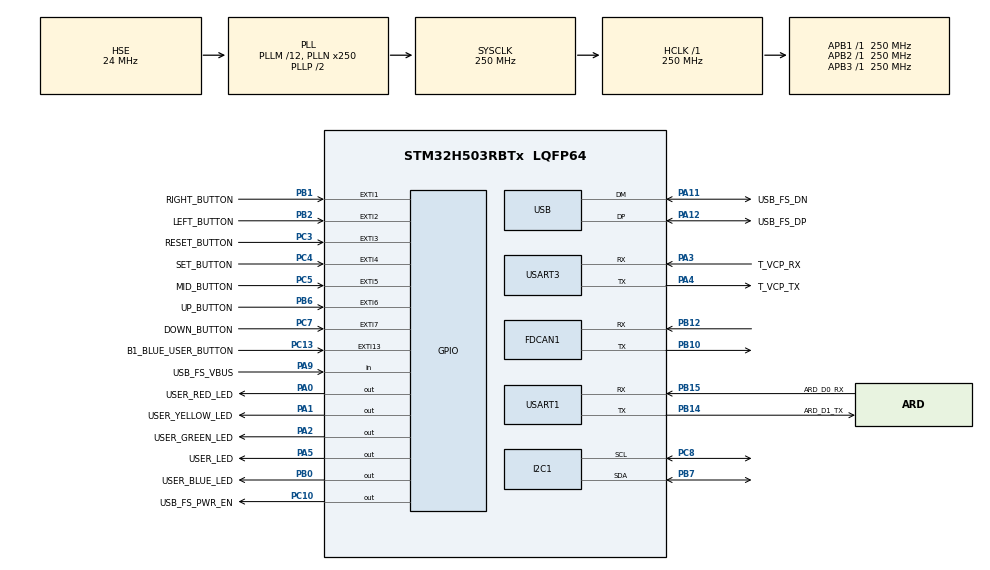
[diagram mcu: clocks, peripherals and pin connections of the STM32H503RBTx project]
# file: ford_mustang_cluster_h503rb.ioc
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BOOTPATH.BootPathName=LEGACY
BOOTPATH.UserSelectedBootPath=LEGACY
FDCAN1.CalculateBaudRateNominal=500000
FDCAN1.CalculateTimeBitNominal=2000
FDCAN1.CalculateTimeQuantumNominal=333.3333333333333
FDCAN1.ClockDivider=FDCAN_CLOCK_DIV1
FDCAN1.NominalPrescaler=8
FDCAN1.NominalTimeSeg1=3
FDCAN1.NominalTimeSeg2=2
FDCAN1.StdFiltersNbr=1
I2C1.Speed=100
I2C1.Timing=0x60808CD3
Mcu.Family=STM32H5
Mcu.Name=STM32H503RBTx
Mcu.Package=LQFP64
NVIC.EXTI13_IRQn=true\:0\:0\:false\:false\:true\:true\:true\:true
NVIC.EXTI1_IRQn=true\:0\:0\:false\:false\:true\:true\:true\:true
NVIC.EXTI2_IRQn=true\:0\:0\:false\:false\:true\:true\:true\:true
NVIC.EXTI3_IRQn=true\:0\:0\:false\:false\:true\:true\:true\:true
NVIC.EXTI4_IRQn=true\:0\:0\:false\:false\:true\:true\:true\:true
NVIC.EXTI5_IRQn=true\:0\:0\:false\:false\:true\:true\:true\:true
NVIC.EXTI6_IRQn=true\:0\:0\:false\:false\:true\:true\:true\:true
NVIC.EXTI7_IRQn=true\:0\:0\:false\:false\:true\:true\:true\:true
NVIC.FDCAN1_IT0_IRQn=true\:0\:0\:false\:false\:true\:true\:true\:true
NVIC.PriorityGroup=NVIC_PRIORITYGROUP_4
NVIC.RNG_IRQn=true\:0\:0\:false\:false\:true\:true\:true\:true
PA0.GPIO_Label=USER_RED_LED
PA0.Signal=GPIO_Output
PA1.GPIO_Label=USER_YELLOW_LED
PA1.Signal=GPIO_Output
PA11.GPIO_Label=USB_FS_DN
PA11.Mode=Device
PA11.Signal=USB_DM
PA12.GPIO_Label=USB_FS_DP
PA12.Mode=Device
PA12.Signal=USB_DP
PA13(JTMS/SWDIO).GPIO_Label=T_SWDIO
PA13(JTMS/SWDIO).Mode=JTAG_4_pins
PA13(JTMS/SWDIO).Signal=DEBUG_JTMS-SWDIO
PA14(JTCK/SWCLK).GPIO_Label=T_SWCLK
PA14(JTCK/SWCLK).Mode=JTAG_4_pins
PA14(JTCK/SWCLK).Signal=DEBUG_JTCK-SWCLK
PA15(JTDI).GPIO_Label=T_JTDI
PA15(JTDI).Mode=JTAG_4_pins
PA15(JTDI).Signal=DEBUG_JTDI
PA2.GPIO_Label=USER_GREEN_LED
PA2.Signal=GPIO_Output
PA3.GPIO_Label=T_VCP_RX
PA3.Mode=Asynchronous
PA3.Signal=USART3_RX
PA4.GPIO_Label=T_VCP_TX
PA4.Mode=Asynchronous
PA4.Signal=USART3_TX
PA5.GPIO_Label=USER_LED
PA5.Signal=GPIO_Output
PA9.GPIO_Label=USB_FS_VBUS
PA9.Signal=GPIO_Input
PB0.GPIO_Label=USER_BLUE_LED
PB0.Signal=GPIO_Output
PB1.GPIO_Label=RIGHT_BUTTON
PB1.GPIO_ModeDefaultEXTI=GPIO_MODE_IT_FALLING
PB1.GPIO_PuPd=GPIO_PULLUP
PB1.Signal=GPXTI1
PB10.Mode=FDCAN_Activate
PB10.Signal=FDCAN1_TX
PB12.Mode=FDCAN_Activate
PB12.Signal=FDCAN1_RX
PB14.GPIO_Label=ARD_D1_TX
PB14.Mode=Asynchronous
PB14.Signal=USART1_TX
PB15.GPIO_Label=ARD_D0_RX
PB15.Mode=Asynchronous
PB15.Signal=USART1_RX
PB2.GPIO_Label=LEFT_BUTTON
PB2.GPIO_ModeDefaultEXTI=GPIO_MODE_IT_FALLING
PB2.GPIO_PuPd=GPIO_PULLUP
PB2.Signal=GPXTI2
PB3(JTDO/TRACESWO).GPIO_Label=T_SWO
PB3(JTDO/TRACESWO).Mode=JTAG_4_pins
PB3(JTDO/TRACESWO).Signal=DEBUG_JTDO-SWO
PB6.GPIO_Label=UP_BUTTON
PB6.GPIO_ModeDefaultEXTI=GPIO_MODE_IT_FALLING
PB6.GPIO_PuPd=GPIO_PULLUP
PB6.Signal=GPXTI6
PB7.GPIO_Pu=GPIO_PULLUP
PB7.Mode=I2C
PB7.Signal=I2C1_SDA
PC10.GPIO_Label=USB_FS_PWR_EN
PC10.Signal=GPIO_Output
PC13.GPIO_Label=B1_BLUE_USER_BUTTON
PC13.Signal=GPXTI13
PC14-OSC32_IN(OSC32_IN).Mode=LSE-External-Oscillator
PC14-OSC32_IN(OSC32_IN).Signal=RCC_OSC32_IN
PC15-OSC32_OUT(OSC32_OUT).Mode=LSE-External-Oscillator
PC15-OSC32_OUT(OSC32_OUT).Signal=RCC_OSC32_OUT
PC3.GPIO_Label=RESET_BUTTON
PC3.GPIO_ModeDefaultEXTI=GPIO_MODE_IT_FALLING
PC3.GPIO_PuPd=GPIO_PULLUP
PC3.Signal=GPXTI3
PC4.GPIO_Label=SET_BUTTON
PC4.GPIO_ModeDefaultEXTI=GPIO_MODE_IT_FALLING
PC4.GPIO_PuPd=GPIO_PULLUP
PC4.Signal=GPXTI4
PC5.GPIO_Label=MID_BUTTON
PC5.GPIO_ModeDefaultEXTI=GPIO_MODE_IT_FALLING
PC5.GPIO_PuPd=GPIO_PULLUP
PC5.Signal=GPXTI5
PC7.GPIO_Label=DOWN_BUTTON
PC7.GPIO_ModeDefaultEXTI=GPIO_MODE_IT_FALLING
PC7.GPIO_PuPd=GPIO_PULLUP
PC7.Signal=GPXTI7
PC8.GPIO_Pu=GPIO_PULLUP
PC8.Mode=I2C
PC8.Signal=I2C1_SCL
PH0-OSC_IN(PH0).Mode=HSE-External-Oscillator
PH0-OSC_IN(PH0).Signal=RCC_OSC_IN
PH1-OSC_OUT(PH1).Mode=HSE-External-Oscillator
PH1-OSC_OUT(PH1).Signal=RCC_OSC_OUT
ProjectManager.HeapSize=0x200
ProjectManager.StackSize=0x400
ProjectManager.TargetToolchain=STM32CubeIDE
RCC.ADCFreq_Value=250000000
RCC.AHBFreq_Value=250000000
RCC.APB1Freq_Value=250000000
RCC.APB1TimFreq_Value=250000000
RCC.APB2Freq_Value=250000000
RCC.APB2TimFreq_Value=250000000
RCC.APB3Freq_Value=250000000
RCC.CSI_VALUE=4000000
RCC.CortexFreq_Value=250000000
RCC.EPOD_VALUE=24000000
RCC.HCLKFreq_Value=250000000
RCC.HSE_VALUE=24000000
RCC.HSI48_VALUE=48000000
RCC.HSIDiv=RCC_HSI_DIV1
RCC.HSI_VALUE=64000000
RCC.LSIRC_VALUE=32000
RCC.PLLM=12
RCC.PLLN=250
RCC.PLLSourceVirtual=RCC_PLL1_SOURCE_HSE
RCC.SYSCLKFreq_VALUE=250000000
RCC.SYSCLKSource=RCC_SYSCLKSOURCE_PLLCLK
RCC.USBFreq_Value=48000000
RCC.VCOOutputFreq_Value=500000000
USART1.VirtualMode=VM_ASYNC
USART1.VirtualMode-Asynchronous=VM_ASYNC
USART3.VirtualMode=VM_ASYNC
USART3.VirtualMode-Asynchronous=VM_ASYNC
USB.VirtualMode=Device_Only
VP_BOOTPATH_VS_BOOTPATH.Mode=BP_Activate
VP_ICACHE_VS_ICACHE.Mode=DefaultMode
VP_MEMORYMAP_VS_MEMORYMAP.Mode=CurAppReg
VP_PWR_VS_DBSignals.Mode=DisableDeadBatterySignals
VP_PWR_VS_LPOM.Mode=PowerOptimisation
VP_PWR_VS_SECSignals.Mode=Security/Privilege
VP_RNG_VS_RNG.Mode=RNG_Activate
board=NUCLEO-H503RB

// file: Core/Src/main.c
/* USER CODE BEGIN Header */
/**
 ******************************************************************************
 * @file           : main.c
 * @brief          : Main program body
 ******************************************************************************
 * @attention
 *
 * Copyright (c) 2024 STMicroelectronics.
 * All rights reserved.
 *
 * This software is licensed under terms that can be found in the LICENSE file
 * in the root directory of this software component.
 * If no LICENSE file comes with this software, it is provided AS-IS.
 *
 ******************************************************************************
 */
/* USER CODE END Header */
#include "main.h"
#include "fdcan.h"
#include "i2c.h"
#include "icache.h"
#include "memorymap.h"
#include "rng.h"
#include "usart.h"
#include "usb.h"
#include "gpio.h"

/* USER CODE BEGIN Includes */

#include <stdio.h>
#include <stdlib.h>
#include <string.h>
#include "mustang.h"
#include "ssd1306.h"

/* USER CODE END Includes */

/* USER CODE BEGIN PTD */
typedef union
{
	uint32_t uint32;
	uint8_t uint8[4];
} uint32to8_t;
/* USER CODE END PTD */

/* USER CODE BEGIN PD */
#define CAN_MSG_REPEAT_PERIOD 100
#define CAN_MSG_TIME_INTERVAL 5
#define RANDOM_MSG_TIME_INTERVAL 1000
#define ENGINE_SPEED_MAX 8000 // rpm
#define ENGINE_SPEED_INCREMENT 370
#define ENGINE_SPEED_DECREMENT 680
#define VEHICLE_SPEED_MAX 160 // mph
#define VEHICLE_SPEED_INCREMENT 1
#define ENGINE_SPEED_GEAR_SHIFT 3000 // rpm
#define COOLANT_TEMPERATURE 90 // degC
#define OIL_TEMPERATURE 110 // degC
#define TRANS_OIL_TEMP_INIT 10 // degC
#define TRANS_OIL_TEMP_FINAL 140 // degC

#define DELAYED_START_INTERVAL 4000
#define TOGGLE_TIME_INTERVAL 1000

#define ACCELEROMETER_TIME_INTERVAL 20

#define SEND_ALL_POSSIBLE_IDS 0
#define PATTERN_TO_BE_SEND  0x55 // 0b00011000 // 0xAA or 0x55
#define STOP_MSG_SCANNING
#define STOP_RANDOM_MSG

#define BYTE_TO_BINARY_PATTERN "0b%c%c%c%c%c%c%c%c"
#define BYTE_TO_BINARY(byte)  \
  ((byte) & 0x80 ? '1' : '0'), \
  ((byte) & 0x40 ? '1' : '0'), \
  ((byte) & 0x20 ? '1' : '0'), \
  ((byte) & 0x10 ? '1' : '0'), \
  ((byte) & 0x08 ? '1' : '0'), \
  ((byte) & 0x04 ? '1' : '0'), \
  ((byte) & 0x02 ? '1' : '0'), \
  ((byte) & 0x01 ? '1' : '0')

/* USER CODE END PD */

/* USER CODE BEGIN PV */
FDCAN_RxHeaderTypeDef RxHeader;
uint8_t RxData[8];

FDCAN_TxHeaderTypeDef TxHeader;
uint8_t TxData8[8];
uint8_t TxData8Random[8];
uint8_t Random8Bytes[8];
uint8_t TxData7[7];
uint8_t TxData6[6];
uint8_t TxData5[5];
uint32_t TxMailbox;

uint16_t vehicle_speed = 0;
double vehicle_acceleration_y;
double vehicle_accel_x;
double vehicle_accel_y;
uint16_t engine_speed = 0;
uint8_t trans_oil_temp = TRANS_OIL_TEMP_INIT;
uint8_t gear_number;
volatile uint8_t christmas_lights = 1;

uint8_t engine_speed_down;

uint32_t CanMsgSoftTimer;
uint32_t RandomMsgSoftTimer;
uint32_t DelayedStartSoftTimer;
uint32_t ToggleSoftTimer;
uint32_t OdometerSoftTimer;
uint32_t OledSoftTimer;
uint32_t AccelerometerSoftTimer;

volatile uint8_t rng_number_flag = 0;
uint8_t rng_number_count = 0;
uint8_t rng_message_flag = 0;
uint32_t rng_number;

uint8_t toggle_variable = 0;
uint8_t flip_me_variable = 0xAA;  // odometer

volatile uint8_t up_button_flag = 0;
volatile uint8_t down_button_flag = 0;
volatile uint8_t left_button_flag = 0;
volatile uint8_t right_button_flag = 0;
volatile uint8_t mid_button_flag = 0;
volatile uint8_t set_button_flag = 0;
volatile uint8_t reset_button_flag = 0;

uint32to8_t uint32to8_converter;

uint8_t uart_message[128];
uint16_t message_size;

uint16_t msg_id = 0;

char lcd_line[128];

/* USER CODE END PV */

void SystemClock_Config(void);
/* USER CODE BEGIN PFP */
void PrintCanFrame0bToUart(void);
void PrintCanFrame0xToUart(void);
void PrintJustSentCanFrame0xToUart(void);
void CalculateRpmSpeed(void);
void CalculateTransOilTemp(void);
void MarkCanFrame(void);
void ComposeRandomMessage(void);
void EmulateIncreasingMileage(void);
void DisplayUnits(void);
/* USER CODE END PFP */

int main(void)
{

	/* MCU Configuration--------------------------------------------------------*/

	/* Reset of all peripherals, Initializes the Flash interface and the Systick. */
	HAL_Init();

	/* Configure the system clock */
	SystemClock_Config();

	/* Initialize all configured peripherals */
	MX_GPIO_Init();
	MX_ICACHE_Init();
	MX_USART1_UART_Init();
	MX_USART3_UART_Init();
	MX_USB_PCD_Init();
	MX_FDCAN1_Init();
	MX_RNG_Init();
	MX_I2C1_Init();
	/* USER CODE BEGIN 2 */

	ssd1306_Init();
	ssd1306_Fill(Black);
	ssd1306_SetCursor(20, 0);
	ssd1306_WriteString("ufnalski.edu.pl", Font_6x8, White);
	ssd1306_SetCursor(14, 12);
	ssd1306_WriteString("Ford Mustang 2016", Font_6x8, White);
	ssd1306_SetCursor(20, 24);
	ssd1306_WriteString("IPC CAN hacking", Font_6x8, White);
	ssd1306_UpdateScreen();

	HAL_RNG_GenerateRandomNumber_IT(&hrng);

	HAL_FDCAN_ConfigGlobalFilter(&hfdcan1, FDCAN_REJECT, FDCAN_REJECT,
	FDCAN_REJECT_REMOTE, FDCAN_REJECT_REMOTE);

	if (HAL_FDCAN_Start(&hfdcan1) != HAL_OK)
	{
		Error_Handler();
	}

	if (HAL_FDCAN_ActivateNotification(&hfdcan1, FDCAN_IT_RX_FIFO0_NEW_MESSAGE,
			0) != HAL_OK)
	{
		/* Notification Error */
		Error_Handler();
	}

	TxHeader.IdType = FDCAN_STANDARD_ID;
	TxHeader.TxFrameType = FDCAN_DATA_FRAME;
	TxHeader.ErrorStateIndicator = FDCAN_ESI_ACTIVE;
	TxHeader.BitRateSwitch = FDCAN_BRS_ON;
	TxHeader.FDFormat = FDCAN_FD_CAN;
	TxHeader.TxEventFifoControl = FDCAN_NO_TX_EVENTS;
	TxHeader.MessageMarker = 0;

	CanMsgSoftTimer = HAL_GetTick();
	RandomMsgSoftTimer = HAL_GetTick();
	DelayedStartSoftTimer = HAL_GetTick();
	ToggleSoftTimer = HAL_GetTick();
	OdometerSoftTimer = HAL_GetTick();
	OledSoftTimer = HAL_GetTick();
	AccelerometerSoftTimer = HAL_GetTick();
	memset(RxData, 0xFF, sizeof(RxData));

	/* USER CODE END 2 */

	/* Infinite loop */
	/* USER CODE BEGIN WHILE */
	while (1)
	{

		if ((HAL_GetTick() - AccelerometerSoftTimer)
				> ACCELEROMETER_TIME_INTERVAL)
		{
			AccelerometerSoftTimer = HAL_GetTick();
			vehicle_accel_x = 75;  // some exemplary hard-coded value
			vehicle_accel_y = 50;  // some exemplary hard-coded value
			sprintf(lcd_line, "A_X=%i,  A_Y=%i         ",
					(int) round(vehicle_accel_x), (int) round(vehicle_accel_y));
			ssd1306_SetCursor(2, 36);
			ssd1306_WriteString(lcd_line, Font_6x8, White);
			ssd1306_UpdateScreen();
		}

		if (HAL_GetTick() - ToggleSoftTimer > TOGGLE_TIME_INTERVAL)
		{
			ToggleSoftTimer = HAL_GetTick();
			toggle_variable ^= 1;
		}

#if SEND_ALL_POSSIBLE_IDS
		if ((HAL_GetTick() - CanMsgSoftTimer > CAN_MSG_REPEAT_PERIOD)
				&& (msg_id <= 0x7FF))
		{
			CanMsgSoftTimer = HAL_GetTick();

			if (HAL_GetTick() - DelayedStartSoftTimer > DELAYED_START_INTERVAL)
			{
				CalculateRpmSpeed();
				if (trans_oil_temp < TRANS_OIL_TEMP_FINAL)
				{
					trans_oil_temp = TRANS_OIL_TEMP_INIT + msg_id / 2;
				}
			}

			activate_cluster(0, 0, CAN_MSG_TIME_INTERVAL);
			send_engine_speed(engine_speed, CAN_MSG_TIME_INTERVAL);
			send_ground_speed(vehicle_speed, CAN_MSG_TIME_INTERVAL);
			send_coolant_and_oil_temp(COOLANT_TEMPERATURE, OIL_TEMPERATURE,
			CAN_MSG_TIME_INTERVAL);
			send_tyre_pressure(220, 225, 230, 235, CAN_MSG_TIME_INTERVAL);
			send_transmission_oil_temp(trans_oil_temp, CAN_MSG_TIME_INTERVAL);
			//send_launch_control(CAN_MSG_TIME_INTERVAL);
			//send_seatbelt(CAN_MSG_TIME_INTERVAL);
			send_inlet_air_temp(100, CAN_MSG_TIME_INTERVAL);
			send_cylinder_head_temp(150, 2 * 750, 15, CAN_MSG_TIME_INTERVAL);
			send_gearbox_mode('S', 5, CAN_MSG_TIME_INTERVAL);
			send_oil_pressure(0, CAN_MSG_TIME_INTERVAL);

			HAL_Delay(CAN_MSG_TIME_INTERVAL);
			TxHeader.DataLength = FDCAN_DLC_BYTES_8;
			TxHeader.Identifier = msg_id;
			memset(TxData8, PATTERN_TO_BE_SEND, sizeof(TxData8));
#ifndef STOP_MSG_SCANNING
			if (HAL_FDCAN_AddMessageToTxFifoQ(&hfdcan1, &TxHeader, TxData8)
					!= HAL_OK)
			{
				Error_Handler();
			}
#endif
			msg_id++;

			EmulateIncreasingMileage();

			navigate_menu(CAN_MSG_TIME_INTERVAL);
			HAL_GPIO_TogglePin(USER_LED_GPIO_Port,
			USER_LED_Pin);
		}

#else

		ComposeRandomMessage();

		if (HAL_GetTick() - CanMsgSoftTimer > CAN_MSG_TIME_INTERVAL)
		{
			CanMsgSoftTimer = HAL_GetTick();

			if (HAL_GetTick() - DelayedStartSoftTimer > DELAYED_START_INTERVAL)
			{
				CalculateRpmSpeed();
				CalculateTransOilTemp();
			}

			if ((HAL_GetTick() - RandomMsgSoftTimer > RANDOM_MSG_TIME_INTERVAL)
					&& (rng_message_flag == 1))
			{
				RandomMsgSoftTimer = HAL_GetTick();
				rng_message_flag = 0;
				HAL_RNG_GenerateRandomNumber_IT(&hrng);
				memcpy(TxData8Random, Random8Bytes, sizeof(TxData8Random));
				TxData8Random[0] = 0;
				TxData8Random[1] = 0;
				TxData8Random[2] = 0;
				TxData8Random[3] = 0;
				TxData8Random[4] = 0;
				TxData8Random[5] = 0;
				TxData8Random[6] = 0;
				TxData8Random[7] = 0;
				//PrintCanFrame0bToUart();
				PrintCanFrame0xToUart();
			}
			MarkCanFrame();

			HAL_Delay(CAN_MSG_TIME_INTERVAL);
			TxHeader.DataLength = FDCAN_DLC_BYTES_8;
			TxHeader.Identifier = 0x3C3;
			memcpy(TxData8, TxData8Random, sizeof(TxData8));
#ifndef STOP_RANDOM_MSG
			if (HAL_FDCAN_AddMessageToTxFifoQ(&hfdcan1, &TxHeader, TxData8)
					!= HAL_OK)
			{
				Error_Handler();
			}
#endif

			activate_cluster(toggle_variable, toggle_variable,
			CAN_MSG_TIME_INTERVAL);
			send_engine_speed(engine_speed, CAN_MSG_TIME_INTERVAL);
			send_ground_speed(vehicle_speed, CAN_MSG_TIME_INTERVAL);
			send_coolant_and_oil_temp(COOLANT_TEMPERATURE, OIL_TEMPERATURE,
			CAN_MSG_TIME_INTERVAL);
			send_tyre_pressure(220, 225, 230, 235, CAN_MSG_TIME_INTERVAL);
			send_transmission_oil_temp(trans_oil_temp, CAN_MSG_TIME_INTERVAL);
			//send_launch_control(CAN_MSG_TIME_INTERVAL);
			//send_seatbelt(CAN_MSG_TIME_INTERVAL);
			send_inlet_air_temp(100, CAN_MSG_TIME_INTERVAL);
			send_cylinder_head_temp(150, -500, 15, CAN_MSG_TIME_INTERVAL); // 2 * 750 = 2 bars boost
			send_gearbox_mode('S', 5, CAN_MSG_TIME_INTERVAL);
			send_oil_pressure(0, CAN_MSG_TIME_INTERVAL);

			EmulateIncreasingMileage();
			send_accelerometer(-vehicle_accel_x / 20.0, -vehicle_accel_y / 20.0,
			CAN_MSG_TIME_INTERVAL);

			navigate_menu(10);
			//		PrintJustSentCanFrame0xToUart();
			DisplayUnits();
			HAL_GPIO_TogglePin(USER_LED_GPIO_Port,
			USER_LED_Pin);
		}

#endif
		/* USER CODE END WHILE */

	}
}

void SystemClock_Config(void)
{
	RCC_OscInitTypeDef RCC_OscInitStruct =
	{ 0 };
	RCC_ClkInitTypeDef RCC_ClkInitStruct =
	{ 0 };

	/** Configure the main internal regulator output voltage
	 */
	__HAL_PWR_VOLTAGESCALING_CONFIG(PWR_REGULATOR_VOLTAGE_SCALE0);

	while (!__HAL_PWR_GET_FLAG(PWR_FLAG_VOSRDY))
	{
	}

	/** Initializes the RCC Oscillators according to the specified parameters
	 * in the RCC_OscInitTypeDef structure.
	 */
	RCC_OscInitStruct.OscillatorType = RCC_OSCILLATORTYPE_HSI48
			| RCC_OSCILLATORTYPE_HSE;
	RCC_OscInitStruct.HSEState = RCC_HSE_ON;
	RCC_OscInitStruct.HSI48State = RCC_HSI48_ON;
	RCC_OscInitStruct.PLL.PLLState = RCC_PLL_ON;
	RCC_OscInitStruct.PLL.PLLSource = RCC_PLL1_SOURCE_HSE;
	RCC_OscInitStruct.PLL.PLLM = 12;
	RCC_OscInitStruct.PLL.PLLN = 250;
	RCC_OscInitStruct.PLL.PLLP = 2;
	RCC_OscInitStruct.PLL.PLLQ = 2;
	RCC_OscInitStruct.PLL.PLLR = 2;
	RCC_OscInitStruct.PLL.PLLRGE = RCC_PLL1_VCIRANGE_1;
	RCC_OscInitStruct.PLL.PLLVCOSEL = RCC_PLL1_VCORANGE_WIDE;
	RCC_OscInitStruct.PLL.PLLFRACN = 0;
	if (HAL_RCC_OscConfig(&RCC_OscInitStruct) != HAL_OK)
	{
		Error_Handler();
	}

	/** Initializes the CPU, AHB and APB buses clocks
	 */
	RCC_ClkInitStruct.ClockType = RCC_CLOCKTYPE_HCLK | RCC_CLOCKTYPE_SYSCLK
			| RCC_CLOCKTYPE_PCLK1 | RCC_CLOCKTYPE_PCLK2 | RCC_CLOCKTYPE_PCLK3;
	RCC_ClkInitStruct.SYSCLKSource = RCC_SYSCLKSOURCE_PLLCLK;
	RCC_ClkInitStruct.AHBCLKDivider = RCC_SYSCLK_DIV1;
	RCC_ClkInitStruct.APB1CLKDivider = RCC_HCLK_DIV1;
	RCC_ClkInitStruct.APB2CLKDivider = RCC_HCLK_DIV1;
	RCC_ClkInitStruct.APB3CLKDivider = RCC_HCLK_DIV1;

	if (HAL_RCC_ClockConfig(&RCC_ClkInitStruct, FLASH_LATENCY_5) != HAL_OK)
	{
		Error_Handler();
	}

	/** Configure the programming delay
	 */
	__HAL_FLASH_SET_PROGRAM_DELAY(FLASH_PROGRAMMING_DELAY_2);
}

/* USER CODE BEGIN 4 */
void HAL_FDCAN_RxFifo0Callback(FDCAN_HandleTypeDef *hfdcan, uint32_t RxFifo0ITs)
{
	if ((RxFifo0ITs & FDCAN_IT_RX_FIFO0_NEW_MESSAGE) != RESET)
	{
		/* Retreive Rx messages from RX FIFO0 */
		if (HAL_FDCAN_GetRxMessage(hfdcan, FDCAN_RX_FIFO0, &RxHeader, RxData)
				!= HAL_OK)
		{
			/* Reception Error */
			Error_Handler();
		}

		if (HAL_FDCAN_ActivateNotification(hfdcan,
		FDCAN_IT_RX_FIFO0_NEW_MESSAGE, 0) != HAL_OK)
		{
			/* Notification Error */
			Error_Handler();
		}
	}
}

void HAL_GPIO_EXTI_Rising_Callback(uint16_t GPIO_Pin)
{
	if (GPIO_Pin == B1_BLUE_USER_BUTTON_Pin)
	{
		christmas_lights ^= 1; // toggle
	}
}

//void HAL_GPIO_EXTI_Falling_Callback(uint16_t GPIO_Pin)
void HAL_GPIO_EXTI_Falling_Callback(uint16_t GPIO_Pin)
{
	if (GPIO_Pin == UP_BUTTON_Pin)
	{
		up_button_flag = 1;
	}

	if (GPIO_Pin == DOWN_BUTTON_Pin)
	{
		down_button_flag = 1;
	}

	if (GPIO_Pin == LEFT_BUTTON_Pin)
	{
		left_button_flag = 1;
	}

	if (GPIO_Pin == RIGHT_BUTTON_Pin)
	{
		right_button_flag = 1;
	}

	if (GPIO_Pin == MID_BUTTON_Pin)
	{
		mid_button_flag = 1;
	}

	if (GPIO_Pin == SET_BUTTON_Pin)
	{
		set_button_flag = 1;
	}

	if (GPIO_Pin == RESET_BUTTON_Pin)
	{
		reset_button_flag = 1;
	}

}

void HAL_RNG_ReadyDataCallback(RNG_HandleTypeDef *hrng, uint32_t random32bit)
{
	rng_number_flag = 1;
}

void PrintCanFrame0bToUart(void)
{
	message_size =
			sprintf((char*) uart_message,
					"[0x%02X] "BYTE_TO_BINARY_PATTERN" "BYTE_TO_BINARY_PATTERN" "BYTE_TO_BINARY_PATTERN" "BYTE_TO_BINARY_PATTERN" "BYTE_TO_BINARY_PATTERN" "BYTE_TO_BINARY_PATTERN" "BYTE_TO_BINARY_PATTERN" "BYTE_TO_BINARY_PATTERN"\r\n",
					(unsigned int) TxHeader.Identifier,
					BYTE_TO_BINARY(TxData8Random[0]),
					BYTE_TO_BINARY(TxData8Random[1]),
					BYTE_TO_BINARY(TxData8Random[2]),
					BYTE_TO_BINARY(TxData8Random[3]),
					BYTE_TO_BINARY(TxData8Random[4]),
					BYTE_TO_BINARY(TxData8Random[5]),
					BYTE_TO_BINARY(TxData8Random[6]),
					BYTE_TO_BINARY(TxData8Random[7]));
	HAL_UART_Transmit(&huart3, (uint8_t*) uart_message, message_size, 200);
}

void PrintCanFrame0xToUart(void)
{
	message_size =
			sprintf((char*) uart_message,
					"[0x%02X] 0x%02X 0x%02X 0x%02X 0x%02X 0x%02X 0x%02X 0x%02X 0x%02X\r\n",
					(unsigned int) TxHeader.Identifier, TxData8Random[0],
					TxData8Random[1], TxData8Random[2], TxData8Random[3],
					TxData8Random[4], TxData8Random[5], TxData8Random[6],
					TxData8Random[7]);
	HAL_UART_Transmit(&huart3, (uint8_t*) uart_message, message_size, 200);
}

void PrintJustSentCanFrame0xToUart(void)
{
	message_size =
			sprintf((char*) uart_message,
					"[0x%02X] 0x%02X 0x%02X 0x%02X 0x%02X 0x%02X 0x%02X 0x%02X 0x%02X\r\n",
					(unsigned int) TxHeader.Identifier, TxData8[0], TxData8[1],
					TxData8[2], TxData8[3], TxData8[4], TxData8[5], TxData8[6],
					TxData8[7]);
	HAL_UART_Transmit(&huart3, (uint8_t*) uart_message, message_size, 200);
}

void MarkCanFrame(void)
{
	if (set_button_flag == 1)
	{
		set_button_flag = 0;
		message_size = sprintf((char*) uart_message, "--> red check mark\r\n");
		HAL_UART_Transmit(&huart3, (uint8_t*) uart_message, message_size, 200);
	}

	if (reset_button_flag == 1)
	{
		reset_button_flag = 0;
		message_size = sprintf((char*) uart_message,
				"--> white check mark\r\n");
		HAL_UART_Transmit(&huart3, (uint8_t*) uart_message, message_size, 200);
	}

	if (mid_button_flag == 1)
	{
		mid_button_flag = 0;
		message_size = sprintf((char*) uart_message, "--> mid check mark\r\n");
		HAL_UART_Transmit(&huart3, (uint8_t*) uart_message, message_size, 200);
	}
}

void CalculateRpmSpeed(void)
{
	if (!engine_speed_down)
	{
		if (engine_speed <= ENGINE_SPEED_MAX - ENGINE_SPEED_INCREMENT)
		{
			engine_speed = engine_speed + ENGINE_SPEED_INCREMENT;
			vehicle_acceleration_y = 1.4;
		}
		else if (gear_number < 5)
		{
			engine_speed_down = 1;
			gear_number++;
		}
		else
		{
			vehicle_acceleration_y = 0.0;
		}
	}
	else
	{
		if (engine_speed > ENGINE_SPEED_GEAR_SHIFT)
		{
			engine_speed = engine_speed - ENGINE_SPEED_DECREMENT;
			vehicle_acceleration_y = 0.0;
		}
		else
		{
			engine_speed_down = 0;
		}
	}

	if (vehicle_speed <= VEHICLE_SPEED_MAX - VEHICLE_SPEED_INCREMENT)
	{
		vehicle_speed = vehicle_speed + VEHICLE_SPEED_INCREMENT;
	}
}

void CalculateTransOilTemp(void)
{
	if (trans_oil_temp < TRANS_OIL_TEMP_FINAL)
	{
		trans_oil_temp++;
	}
}

void ComposeRandomMessage(void)
{
	if ((rng_number_flag == 1) && (rng_message_flag == 0)
			&& (rng_number_count < 2))
	{
		uint32to8_converter.uint32 = HAL_RNG_ReadLastRandomNumber(&hrng);
		rng_number_flag = 0;
		for (uint8_t i = 0; i < 4; i++)
		{
			Random8Bytes[i + 4 * rng_number_count] =
					uint32to8_converter.uint8[i];
		}
		rng_number_count++;
		HAL_RNG_GenerateRandomNumber_IT(&hrng);
		if (rng_number_count == 2)
		{
			rng_message_flag = 1;
			rng_number_count = 0;
		}
	}
}

void EmulateIncreasingMileage(void)
{
	if (HAL_GetTick() - OdometerSoftTimer > 2000) // 50 km/h
	{
		OdometerSoftTimer = HAL_GetTick();
		flip_me_variable ^= 0xFF;
		send_add_25m_to_odometer(flip_me_variable,
		CAN_MSG_TIME_INTERVAL);
	}
}

void DisplayUnits(void)
{
	if (HAL_GetTick() - OledSoftTimer > 1000)
	{
		OledSoftTimer = HAL_GetTick();

		if ((RxData[2] & 0xF0) == 0x00)
		{
			sprintf(lcd_line, "Unt: meters + deg. C  ");
		}
		else if ((RxData[2] & 0xF0) == 0x40)
		{
			sprintf(lcd_line, "Unt: meters + deg. F  ");
		}
		else if ((RxData[2] & 0xF0) == 0x80)
		{
			sprintf(lcd_line, "Unt: miles + deg. C   ");
		}
		else if ((RxData[2] & 0xF0) == 0xC0)
		{
			sprintf(lcd_line, "Unt: miles + deg. F   ");
		}
		else
		{
			sprintf(lcd_line, "Sth went wrong!   ");
		}
		ssd1306_SetCursor(2, 48);
		ssd1306_WriteString(lcd_line, Font_6x8, White);
		ssd1306_UpdateScreen();
	}
}
/* USER CODE END 4 */

void Error_Handler(void)
{
	__disable_irq();
	while (1)
	{
	}
}
